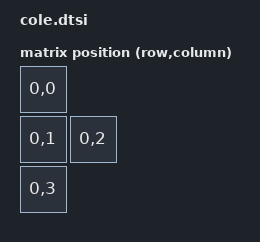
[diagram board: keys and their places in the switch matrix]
#include "cole-layouts.dtsi"
#include <dt-bindings/zmk/matrix_transform.h>

/ {
    matrix_transform0: matrix_transform0 {
        compatible = "zmk,matrix-transform";
        columns = <4>;
        rows = <1>;
        map = <
            RC(0,0)
            RC(0,1) RC(0,2)
            RC(0,3)
        >;
    };
};

&physical_layout_cole {
    transform = <&matrix_transform0>;
};

// Encoders for all parts of the keyboard.
// If the encoder(s) are not behaving as expected,
// update steps and triggers-per-rotation to match your hardware.
// All pin assignments are done in the part overlays.

/ {
    encoder0: encoder0 {
        compatible = "alps,ec11";
        steps = <80>;
        status = "disabled";
    };

    sensors: sensors {
        compatible = "zmk,keymap-sensors";
        sensors = <&encoder0>;
        triggers-per-rotation = <20>;
    };
};

